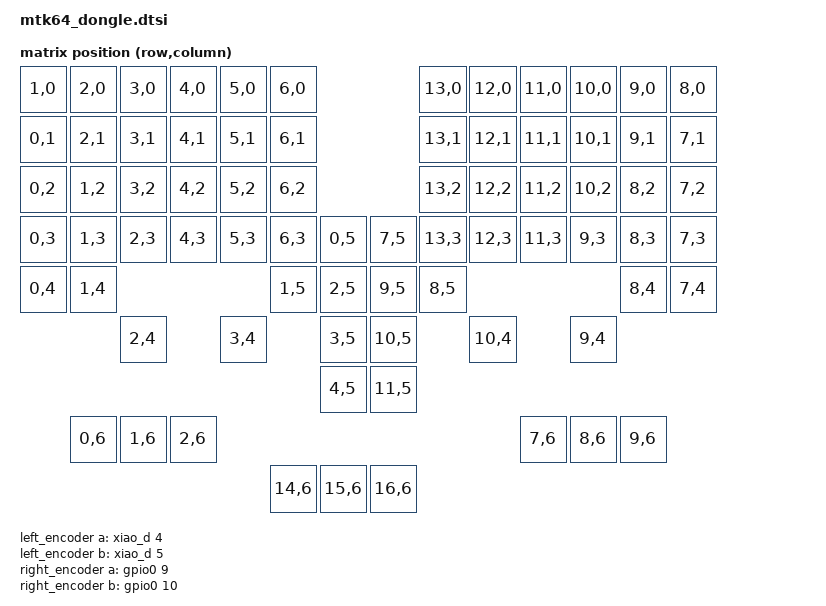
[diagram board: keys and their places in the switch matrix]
#include <dt-bindings/zmk/matrix_transform.h>


/ {
    chosen {
        zmk,kscan = &kscan0;
        zmk,physical_layouts = &mtk64_physical_layout;
    };
    
    default_transform: keymap_transform_0 {
        compatible = "zmk,matrix-transform";
        columns = <21>;
        rows = <7>;               

        map = <
        RC(1,0)  RC(2,0)  RC(3,0)  RC(4,0)  RC(5,0)  RC(6,0)                    RC(13,0)  RC(12,0) RC(11,0) RC(10,0) RC(9,0)  RC(8,0)  
        RC(0,1)  RC(2,1)  RC(3,1)  RC(4,1)  RC(5,1)  RC(6,1)                    RC(13,1)  RC(12,1) RC(11,1) RC(10,1) RC(9,1)  RC(7,1)  
        RC(0,2)  RC(1,2)  RC(3,2)  RC(4,2)  RC(5,2)  RC(6,2)                    RC(13,2)  RC(12,2) RC(11,2) RC(10,2) RC(8,2)  RC(7,2)  
        RC(0,3)  RC(1,3)  RC(2,3)  RC(4,3)  RC(5,3)  RC(6,3)  RC(0,5)  RC(7,5)  RC(13,3)  RC(12,3) RC(11,3) RC(9,3)  RC(8,3)  RC(7,3)  
        RC(0,4)  RC(1,4)                             RC(1,5)  RC(2,5)  RC(9,5)  RC(8,5)                              RC(8,4)  RC(7,4)  
                          RC(2,4)           RC(3,4)           RC(3,5)  RC(10,5)           RC(10,4)          RC(9,4)            
                                                              RC(4,5)  RC(11,5)                                
                 RC(0,6)  RC(1,6)  RC(2,6)                                                         RC(7,6)  RC(8,6)  RC(9,6)  
                                                         RC(14,6) RC(15,6) RC(16,6)  
             >;
    };

    kscan0: kscan {
        compatible = "zmk,kscan-gpio-charlieplex";
        wakeup-source;

        interrupt-gpios = <&xiao_d 10 (GPIO_ACTIVE_HIGH | GPIO_PULL_DOWN)>;
        gpios =   <&xiao_d 1 GPIO_ACTIVE_HIGH> 
                , <&xiao_d 2 GPIO_ACTIVE_HIGH> 
                , <&xiao_d 3 GPIO_ACTIVE_HIGH> 
                , <&xiao_d 6 GPIO_ACTIVE_HIGH>
                , <&xiao_d 7 GPIO_ACTIVE_HIGH> 
                , <&xiao_d 8 GPIO_ACTIVE_HIGH> 
                , <&xiao_d 9 GPIO_ACTIVE_HIGH> 	
                ;

    };

    mtk64_physical_layout: mtk64_physical_layout {
        compatible = "zmk,physical-layout";
        display-name = "Default";
        transform = <&default_transform>;
    };

    left_encoder: encoder_left {
        compatible = "alps,ec11";
        a-gpios = <&xiao_d 4 (GPIO_ACTIVE_HIGH | GPIO_PULL_UP)>;
        b-gpios = <&xiao_d 5 (GPIO_ACTIVE_HIGH | GPIO_PULL_UP)>;
        steps = <15>;
        status = "disabled";
    };

    right_encoder: encoder_right {
        compatible = "alps,ec11";
        a-gpios = <&gpio0 9 (GPIO_ACTIVE_HIGH | GPIO_PULL_UP)>;
        b-gpios = <&gpio0 10 (GPIO_ACTIVE_HIGH | GPIO_PULL_UP)>;
        steps = <15>;
        status = "disabled";
    };

    sensors: sensors {
        compatible = "zmk,keymap-sensors";
        sensors = <&left_encoder &right_encoder>;
        triggers-per-rotation = <10>;
    };
};

&uicr {
        nfct-pins-as-gpios;
};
